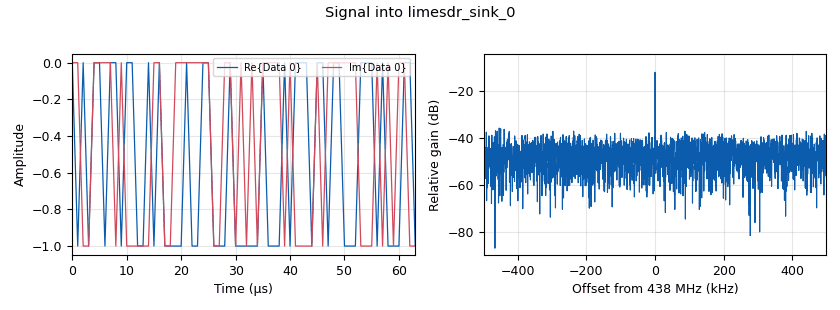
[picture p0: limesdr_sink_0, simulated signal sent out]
<?xml version='1.0' encoding='utf-8'?>
<?grc format='1' created='3.7.13'?>
<flow_graph>
<block>
<key>options</key>
<param><key>id</key><value>top_block</value></param>
<param><key>generate_options</key><value>qt_gui</value></param>
</block>
<block>
<key>variable</key>
<param><key>id</key><value>bw</value></param>
<param><key>value</key><value>1e6</value></param>
</block>
<block>
<key>variable_qtgui_range</key>
<param><key>id</key><value>f</value></param>
<param><key>value</key><value>438e6</value></param>
<param><key>orient</key><value>Qt.Horizontal</value></param>
<param><key>start</key><value>10e6</value></param>
<param><key>step</key><value>10e6</value></param>
<param><key>stop</key><value>3.8e9</value></param>
</block>
<block>
<key>variable_qtgui_range</key>
<param><key>id</key><value>gain</value></param>
<param><key>value</key><value>30</value></param>
<param><key>orient</key><value>Qt.Horizontal</value></param>
<param><key>start</key><value>0</value></param>
<param><key>step</key><value>1</value></param>
<param><key>stop</key><value>60</value></param>
<param><key>rangeType</key><value>int</value></param>
</block>
<block>
<key>variable</key>
<param><key>id</key><value>vec_len</value></param>
<param><key>value</key><value>8192/2</value></param>
</block>
<block>
<key>analog_fastnoise_source_x</key>
<param><key>id</key><value>analog_fastnoise_source_x_0</value></param>
<param><key>amp</key><value>1</value></param>
<param><key>_enabled</key><value>0</value></param>
<param><key>noise_type</key><value>analog.GR_GAUSSIAN</value></param>
<param><key>type</key><value>complex</value></param>
<param><key>seed</key><value>0</value></param>
<param><key>samples</key><value>8192</value></param>
</block>
<block>
<key>analog_random_source_x</key>
<param><key>id</key><value>analog_random_source_x_0</value></param>
<param><key>max</key><value>1</value></param>
<param><key>min</key><value>-1</value></param>
<param><key>num_samps</key><value>vec_len</value></param>
<param><key>type</key><value>int</value></param>
<param><key>repeat</key><value>True</value></param>
</block>
<block>
<key>analog_random_source_x</key>
<param><key>id</key><value>analog_random_source_x_0_0</value></param>
<param><key>max</key><value>1</value></param>
<param><key>min</key><value>-1</value></param>
<param><key>num_samps</key><value>vec_len</value></param>
<param><key>type</key><value>int</value></param>
<param><key>repeat</key><value>True</value></param>
</block>
<block>
<key>blocks_complex_to_magphase</key>
<param><key>id</key><value>blocks_complex_to_magphase_0</value></param>
<param><key>vlen</key><value>vec_len</value></param>
</block>
<block>
<key>blocks_float_to_complex</key>
<param><key>id</key><value>blocks_float_to_complex_0</value></param>
</block>
<block>
<key>blocks_int_to_float</key>
<param><key>id</key><value>blocks_int_to_float_0</value></param>
<param><key>scale</key><value>1</value></param>
</block>
<block>
<key>blocks_int_to_float</key>
<param><key>id</key><value>blocks_int_to_float_0_0</value></param>
<param><key>scale</key><value>1</value></param>
</block>
<block>
<key>blocks_multiply_xx</key>
<param><key>id</key><value>blocks_multiply_xx_0</value></param>
<param><key>type</key><value>complex</value></param>
<param><key>vlen</key><value>vec_len</value></param>
</block>
<block>
<key>blocks_stream_to_vector</key>
<param><key>id</key><value>blocks_stream_to_vector_0</value></param>
<param><key>type</key><value>complex</value></param>
<param><key>num_items</key><value>vec_len</value></param>
</block>
<block>
<key>blocks_stream_to_vector</key>
<param><key>id</key><value>blocks_stream_to_vector_0_0</value></param>
<param><key>type</key><value>complex</value></param>
<param><key>num_items</key><value>vec_len</value></param>
</block>
<block>
<key>fft_vxx</key>
<param><key>id</key><value>fft_vxx_0</value></param>
<param><key>fft_size</key><value>vec_len</value></param>
<param><key>forward</key><value>True</value></param>
<param><key>type</key><value>complex</value></param>
<param><key>shift</key><value>True</value></param>
<param><key>window</key><value>window.blackmanharris(vec_len)</value></param>
</block>
<block>
<key>fft_vxx</key>
<param><key>id</key><value>fft_vxx_0_0</value></param>
<param><key>fft_size</key><value>vec_len</value></param>
<param><key>forward</key><value>True</value></param>
<param><key>type</key><value>complex</value></param>
<param><key>shift</key><value>True</value></param>
<param><key>window</key><value>window.blackmanharris(vec_len)</value></param>
</block>
<block>
<key>fft_vxx</key>
<param><key>id</key><value>fft_vxx_0_1</value></param>
<param><key>fft_size</key><value>vec_len</value></param>
<param><key>forward</key><value>False</value></param>
<param><key>type</key><value>complex</value></param>
<param><key>shift</key><value>True</value></param>
<param><key>window</key><value>window.blackmanharris(vec_len)</value></param>
</block>
<block>
<key>limesdr_sink</key>
<param><key>id</key><value>limesdr_sink_0</value></param>
<param><key>allow_tcxo_dac</key><value>0</value></param>
<param><key>analog_bandw_ch0</key><value>0</value></param>
<param><key>calibr_bandw_ch0</key><value>5e6</value></param>
<param><key>digital_bandw_ch0</key><value>0</value></param>
<param><key>gain_dB_ch0</key><value>gain</value></param>
<param><key>calibr_bandw_ch1</key><value>5e6</value></param>
<param><key>digital_bandw_ch1</key><value>0</value></param>
<param><key>gain_dB_ch1</key><value>30</value></param>
<param><key>pa_path_ch1</key><value>1</value></param>
<param><key>channel_mode</key><value>0</value></param>
<param><key>serial</key><value>1D4C2E9C8A3A58</value></param>
<param><key>oversample</key><value>0</value></param>
<param><key>rf_freq</key><value>f</value></param>
<param><key>samp_rate</key><value>bw</value></param>
<param><key>dacVal</key><value>125</value></param>
</block>
<block>
<key>limesdr_source</key>
<param><key>id</key><value>limesdr_source_0</value></param>
<param><key>allow_tcxo_dac</key><value>0</value></param>
<param><key>analog_bandw_ch0</key><value>0</value></param>
<param><key>calibr_bandw_ch0</key><value>0</value></param>
<param><key>digital_bandw_ch0</key><value>0</value></param>
<param><key>gain_dB_ch0</key><value>gain</value></param>
<param><key>lna_path_ch0</key><value>3</value></param>
<param><key>analog_bandw_ch1</key><value>5e6</value></param>
<param><key>calibr_bandw_ch1</key><value>5e6</value></param>
<param><key>digital_bandw_ch1</key><value>0</value></param>
<param><key>gain_dB_ch1</key><value>30</value></param>
<param><key>channel_mode</key><value>0</value></param>
<param><key>serial</key><value>1D4C2E9C8A3A58</value></param>
<param><key>oversample</key><value>0</value></param>
<param><key>rf_freq</key><value>f</value></param>
<param><key>samp_rate</key><value>bw</value></param>
<param><key>dacVal</key><value>125</value></param>
</block>
<block>
<key>qtgui_time_sink_x</key>
<param><key>id</key><value>qtgui_time_sink_x_0_0</value></param>
<param><key>_enabled</key><value>0</value></param>
<param><key>color1</key><value>"blue"</value></param>
<param><key>label1</key><value></value></param>
<param><key>color2</key><value>"red"</value></param>
<param><key>label2</key><value></value></param>
<param><key>size</key><value>int(bw)</value></param>
<param><key>srate</key><value>bw</value></param>
<param><key>type</key><value>complex</value></param>
</block>
<block>
<key>qtgui_vector_sink_f</key>
<param><key>id</key><value>qtgui_vector_sink_f_0</value></param>
<param><key>average</key><value>0.05</value></param>
<param><key>showports</key><value>True</value></param>
<param><key>vlen</key><value>vec_len</value></param>
<param><key>x_start</key><value>0</value></param>
<param><key>x_step</key><value>1.0</value></param>
<param><key>ymax</key><value>100000</value></param>
<param><key>ymin</key><value>0</value></param>
</block>
<block>
<key>qtgui_vector_sink_f</key>
<param><key>id</key><value>qtgui_vector_sink_f_0_0</value></param>
<param><key>average</key><value>0.05</value></param>
<param><key>showports</key><value>True</value></param>
<param><key>vlen</key><value>vec_len</value></param>
<param><key>x_start</key><value>0</value></param>
<param><key>x_step</key><value>1.0</value></param>
<param><key>ymax</key><value>3.14</value></param>
<param><key>ymin</key><value>-3.14</value></param>
</block>
<connection><source_block_id>analog_fastnoise_source_x_0</source_block_id><sink_block_id>blocks_stream_to_vector_0</sink_block_id><source_key>0</source_key><sink_key>0</sink_key></connection>
<connection><source_block_id>analog_fastnoise_source_x_0</source_block_id><sink_block_id>limesdr_sink_0</sink_block_id><source_key>0</source_key><sink_key>0</sink_key></connection>
<connection><source_block_id>analog_fastnoise_source_x_0</source_block_id><sink_block_id>qtgui_time_sink_x_0_0</sink_block_id><source_key>0</source_key><sink_key>0</sink_key></connection>
<connection><source_block_id>analog_random_source_x_0</source_block_id><sink_block_id>blocks_int_to_float_0</sink_block_id><source_key>0</source_key><sink_key>0</sink_key></connection>
<connection><source_block_id>analog_random_source_x_0_0</source_block_id><sink_block_id>blocks_int_to_float_0_0</sink_block_id><source_key>0</source_key><sink_key>0</sink_key></connection>
<connection><source_block_id>blocks_complex_to_magphase_0</source_block_id><sink_block_id>qtgui_vector_sink_f_0</sink_block_id><source_key>0</source_key><sink_key>0</sink_key></connection>
<connection><source_block_id>blocks_complex_to_magphase_0</source_block_id><sink_block_id>qtgui_vector_sink_f_0_0</sink_block_id><source_key>1</source_key><sink_key>0</sink_key></connection>
<connection><source_block_id>blocks_float_to_complex_0</source_block_id><sink_block_id>blocks_stream_to_vector_0</sink_block_id><source_key>0</source_key><sink_key>0</sink_key></connection>
<connection><source_block_id>blocks_float_to_complex_0</source_block_id><sink_block_id>limesdr_sink_0</sink_block_id><source_key>0</source_key><sink_key>0</sink_key></connection>
<connection><source_block_id>blocks_int_to_float_0</source_block_id><sink_block_id>blocks_float_to_complex_0</sink_block_id><source_key>0</source_key><sink_key>0</sink_key></connection>
<connection><source_block_id>blocks_int_to_float_0_0</source_block_id><sink_block_id>blocks_float_to_complex_0</sink_block_id><source_key>0</source_key><sink_key>1</sink_key></connection>
<connection><source_block_id>blocks_multiply_xx_0</source_block_id><sink_block_id>fft_vxx_0_1</sink_block_id><source_key>0</source_key><sink_key>0</sink_key></connection>
<connection><source_block_id>blocks_stream_to_vector_0</source_block_id><sink_block_id>fft_vxx_0</sink_block_id><source_key>0</source_key><sink_key>0</sink_key></connection>
<connection><source_block_id>blocks_stream_to_vector_0_0</source_block_id><sink_block_id>fft_vxx_0_0</sink_block_id><source_key>0</source_key><sink_key>0</sink_key></connection>
<connection><source_block_id>fft_vxx_0</source_block_id><sink_block_id>blocks_multiply_xx_0</sink_block_id><source_key>0</source_key><sink_key>0</sink_key></connection>
<connection><source_block_id>fft_vxx_0_0</source_block_id><sink_block_id>blocks_multiply_xx_0</sink_block_id><source_key>0</source_key><sink_key>1</sink_key></connection>
<connection><source_block_id>fft_vxx_0_1</source_block_id><sink_block_id>blocks_complex_to_magphase_0</sink_block_id><source_key>0</source_key><sink_key>0</sink_key></connection>
<connection><source_block_id>limesdr_source_0</source_block_id><sink_block_id>blocks_stream_to_vector_0_0</sink_block_id><source_key>0</source_key><sink_key>0</sink_key></connection>
</flow_graph>
